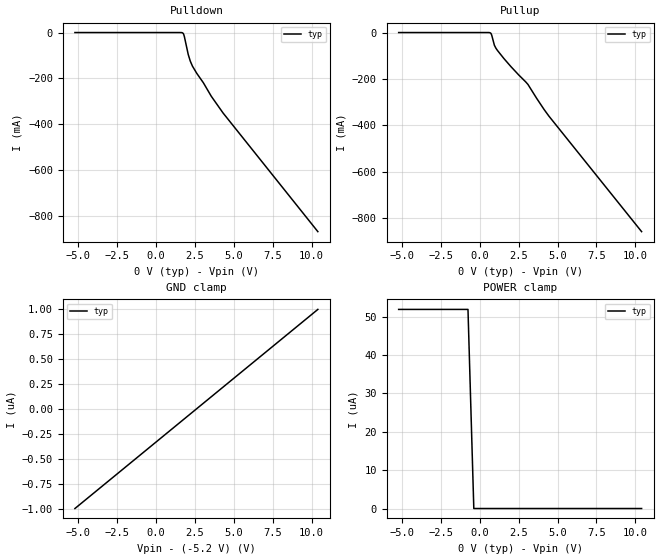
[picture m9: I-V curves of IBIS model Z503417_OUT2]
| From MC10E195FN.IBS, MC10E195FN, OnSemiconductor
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| (C) COPYRIGHT 1993-2000
| MENTOR GRAPHICS CORPORATION
| ICX STANDARD LIBRARY, ICX PROJECT MODELING,
| ICX CUSTOM MODELING, ICX VENDOR MODEL
| ALL RIGHTS RESERVED.
| THE FOLLOWING ARE TRADEMARKS OR SERVICE MARKS OF
| MENTOR GRAPHICS CORPORATION:ICX (R), ICX STANDARD
| LIBRARY(R), ICX PROJECT MODELING(R), ICX CUSTOM
| MODELING(R), qualityIBIS(TM), MODELVIEWER(TM),
| AND MODELEDITOR(TM)
| ALL COPIES OF SOFTWARE, INCLUDING BUT NOT LIMITED TO
| ANY MODIFICATIONS, ENHANCEMENTS OR DERIVATIVE WORKS,
| MUST CONTAIN ALL MENTOR GRAPHICS CORPORATION'S
| NOTICES AND LEGENDS, INCLUDING THOSE EMBEDDED IN
| SOFTWARE AND THOSE AFFIXED TO SOFTWARE MEDIUM
| AND CONTAINER, AS RECEIVED FROM MENTOR GRAPHICS
| CORPORATION.
| Model Application Version 1.89 2/18/99.
[Model] Z503417_OUT2
Model_type Output_ECL
Vref=-2.000V
Rref=50.00ohms
Cref=0.000F
Vmeas=-1.305V
C_comp 8.000pF NA NA
| variable typ   min   max
[Voltage Range] -5.200V NA NA
[POWER Clamp Reference] 0.000V NA NA
[Pullup Reference] 0.000V NA NA
[Pulldown Reference] 0.000V NA NA
[GND Clamp Reference] -5.200V NA NA
[GND Clamp]
-5.2V     -1uA       NA         NA
10.4V     1uA        NA         NA
[Pulldown]
-5.2V     218.1uA    NA         NA
1.607V    136.9uA    NA         NA
1.742V    -2.765mA   NA         NA
1.827V    -17.12mA   NA         NA
2.077V    -95.63mA   NA         NA
2.207V    -124.1mA   NA         NA
2.344V    -145.8mA   NA         NA
2.627V    -177.9mA   NA         NA
3.047V    -218.5mA   NA         NA
3.555V    -277.3mA   NA         NA
4.315V    -350.5mA   NA         NA
10.4V     -867.2mA   NA         NA
[Pullup]
-5.2V     155.8uA    NA         NA
703.1mV   -2.222mA   NA         NA
776.4mV   -11.46mA   NA         NA
947.3mV   -54.89mA   NA         NA
1.143V    -77.15mA   NA         NA
2.022V    -148mA     NA         NA
3.101V    -223.9mA   NA         NA
3.652V    -283.1mA   NA         NA
4.444V    -360.5mA   NA         NA
10.4V     -859.7mA   NA         NA
[POWER Clamp]
-5.2V     51.9uA     NA         NA
-749.5mV  51.9uA     NA         NA
-374.7mV  0A         NA         NA
10.4V     0A         NA         NA
[Ramp]
| variable typ min max
dV/dt_r 562.4m/425.9p NA NA
dV/dt_f 562.4m/291.6p NA NA
R_load = 50.00Ohms
